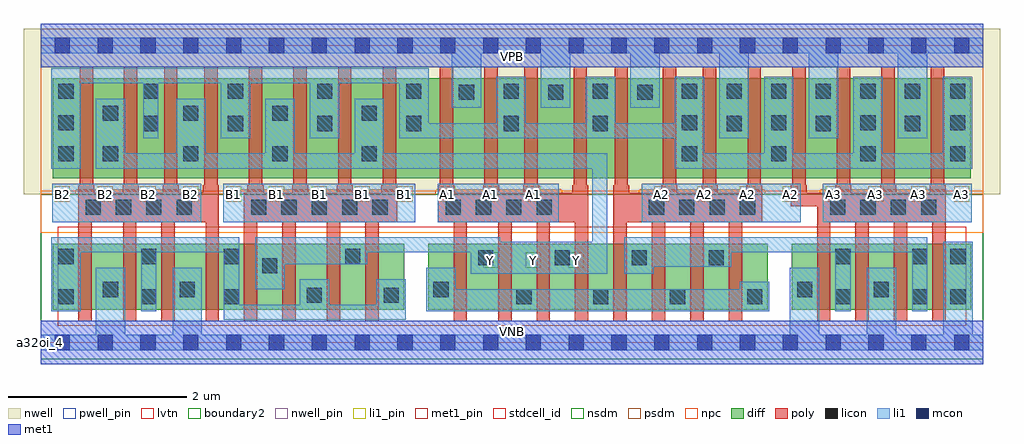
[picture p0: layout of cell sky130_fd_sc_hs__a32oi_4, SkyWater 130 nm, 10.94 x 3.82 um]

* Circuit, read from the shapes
.subckt sky130_fd_sc_hs__a32oi_4 A1 A2 A3 B1 B2 VGND VNB VPB VPWR Y
XM1 VGND B2 n1 VNB sky130_fd_pr__nfet_01v8_lvt w=0.74 l=0.15 m=4
XM2 Y B1 n1 VNB sky130_fd_pr__nfet_01v8_lvt w=0.74 l=0.15 m=4
XM3 Y A1 n2 VNB sky130_fd_pr__nfet_01v8_lvt w=0.74 l=0.15 m=4
XM4 n3 A2 n2 VNB sky130_fd_pr__nfet_01v8_lvt w=0.74 l=0.15 m=4
XM5 n3 A3 VGND VNB sky130_fd_pr__nfet_01v8_lvt w=0.74 l=0.15 m=4
XM6 Y B2 n4 VPB sky130_fd_pr__pfet_01v8 w=1.12 l=0.15 m=4
XM7 Y B1 n4 VPB sky130_fd_pr__pfet_01v8 w=1.12 l=0.15 m=4
XM8 VPWR A1 n4 VPB sky130_fd_pr__pfet_01v8 w=1.12 l=0.15 m=4
XM9 VPWR A2 n4 VPB sky130_fd_pr__pfet_01v8 w=1.12 l=0.15 m=4
XM10 VPWR A3 n4 VPB sky130_fd_pr__pfet_01v8 w=1.12 l=0.15 m=4
.ends

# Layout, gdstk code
import gdstk
lib = gdstk.Library(unit=1e-6, precision=1e-09)
def R(c, l, rs):  # rectangles x0, y0, x1, y1
    for r in rs: c.add(gdstk.rectangle(r[:2], r[2:], *l))
def A(c, l, x, y, w, h, nx, ny, dx, dy):  # array of equal rectangles
    R(c, l, [(x+i*dx, y+j*dy, x+i*dx+w, y+j*dy+h) for i in range(nx) for j in range(ny)])
def P(c, l, *ps):  # polygons
    for p in ps: c.add(gdstk.Polygon(p, *l))
nwell_pin = (64, 16)
nwell = (64, 20)
diff = (65, 20)
poly = (66, 20)
licon = (66, 44)
li1_pin = (67, 16)
li1 = (67, 20)
mcon = (67, 44)
met1_pin = (68, 16)
met1 = (68, 20)
stdcell_id = (81, 4)
nsdm = (93, 44)
psdm = (94, 20)
npc = (95, 20)
pwell_pin = (122, 16)
lvtn = (125, 44)
boundary2 = (236, 0)

sky130_fd_sc_hs__a32oi_4 = lib.new_cell('sky130_fd_sc_hs__a32oi_4')
R(sky130_fd_sc_hs__a32oi_4, nwell_pin, [(0,3.085,10.56,3.33)])
R(sky130_fd_sc_hs__a32oi_4, nwell, [(-0.19,1.66,10.75,3.52)])
R(sky130_fd_sc_hs__a32oi_4, diff, [(0.135,0.37,4.07,1.11), (4.34,0.37,8.145,1.11), (8.415,0.37,10.425,1.11), (0.135,1.84,10.42,2.96)])
P(sky130_fd_sc_hs__a32oi_4, poly, [(1.995,1.765),(1.98,1.765),(1.98,3.09),(1.83,3.09),(1.83,1.765),(1.815,1.765),(1.815,1.68),(1.545,1.68),(1.545,1.765),(1.53,1.765),(1.53,3.09),(1.38,3.09),(1.38,1.765),(1.365,1.765),(1.365,1.68),(1.095,1.68),(1.095,1.765),(1.08,1.765),(1.08,3.09),(0.93,3.09),(0.93,1.765),(0.915,1.765),(0.915,1.68),(0.6,1.68),(0.6,1.765),(0.585,1.765),(0.585,3.09),(0.435,3.09),(0.435,1.765),(0.42,1.765),(0.42,0.24),(0.57,0.24),(0.57,1.35),(0.92,1.35),(0.92,0.24),(1.07,0.24),(1.07,1.35),(1.35,1.35),(1.35,0.24),(1.5,0.24),(1.5,1.35),(1.845,1.35),(1.845,0.24),(1.995,0.24)],
  [(3.995,1.765),(3.98,1.765),(3.98,3.09),(3.83,3.09),(3.83,1.765),(3.815,1.765),(3.815,1.68),(3.495,1.68),(3.495,1.765),(3.48,1.765),(3.48,3.09),(3.33,3.09),(3.33,1.765),(3.315,1.765),(3.315,1.68),(2.995,1.68),(2.995,1.765),(2.98,1.765),(2.98,3.09),(2.83,3.09),(2.83,1.765),(2.815,1.765),(2.815,1.68),(2.495,1.68),(2.495,1.765),(2.48,1.765),(2.48,3.09),(2.33,3.09),(2.33,1.765),(2.315,1.765),(2.315,1.68),(2.275,1.68),(2.275,0.24),(2.425,0.24),(2.425,1.35),(2.705,1.35),(2.705,0.24),(2.855,0.24),(2.855,1.35),(3.205,1.35),(3.205,0.24),(3.355,0.24),(3.355,1.35),(3.635,1.35),(3.635,0.24),(3.785,0.24),(3.785,1.35),(3.995,1.35)],
  [(6.135,1.765),(6.12,1.765),(6.12,3.09),(5.97,3.09),(5.97,1.765),(5.955,1.765),(5.955,1.68),(5.585,1.68),(5.585,1.765),(5.57,1.765),(5.57,3.09),(5.42,3.09),(5.42,1.765),(5.405,1.765),(5.405,1.68),(5.135,1.68),(5.135,1.765),(5.12,1.765),(5.12,3.09),(4.97,3.09),(4.97,1.765),(4.955,1.765),(4.955,1.68),(4.635,1.68),(4.635,1.765),(4.62,1.765),(4.62,3.09),(4.47,3.09),(4.47,1.765),(4.455,1.765),(4.455,1.35),(4.625,1.35),(4.625,0.24),(4.775,0.24),(4.775,1.35),(5.125,1.35),(5.125,0.24),(5.275,0.24),(5.275,1.35),(5.555,1.35),(5.555,0.24),(5.705,0.24),(5.705,1.35),(5.985,1.35),(5.985,0.24),(6.135,0.24)],
  [(8.085,1.765),(8.07,1.765),(8.07,3.09),(7.92,3.09),(7.92,1.765),(7.905,1.765),(7.905,1.68),(7.585,1.68),(7.585,1.765),(7.57,1.765),(7.57,3.09),(7.42,3.09),(7.42,1.765),(7.405,1.765),(7.405,1.68),(7.135,1.68),(7.135,1.765),(7.12,1.765),(7.12,3.09),(6.97,3.09),(6.97,1.765),(6.955,1.765),(6.955,1.68),(6.595,1.68),(6.595,1.765),(6.58,1.765),(6.58,3.09),(6.43,3.09),(6.43,1.765),(6.415,1.765),(6.415,0.24),(6.565,0.24),(6.565,1.35),(6.845,1.35),(6.845,0.24),(6.995,0.24),(6.995,1.35),(7.28,1.35),(7.28,0.24),(7.43,0.24),(7.43,1.35),(7.71,1.35),(7.71,0.24),(7.86,0.24),(7.86,1.35),(8.085,1.35)],
  [(10.14,1.765),(10.125,1.765),(10.125,3.09),(9.975,3.09),(9.975,1.765),(9.96,1.765),(9.96,1.68),(9.585,1.68),(9.585,1.765),(9.57,1.765),(9.57,3.09),(9.42,3.09),(9.42,1.765),(9.405,1.765),(9.405,1.68),(9.085,1.68),(9.085,1.765),(9.07,1.765),(9.07,3.09),(8.92,3.09),(8.92,1.765),(8.905,1.765),(8.905,1.68),(8.585,1.68),(8.585,1.765),(8.57,1.765),(8.57,3.09),(8.42,3.09),(8.42,1.765),(8.405,1.765),(8.405,1.53),(8.7,1.53),(8.7,0.24),(8.85,0.24),(8.85,1.35),(9.13,1.35),(9.13,0.24),(9.28,0.24),(9.28,1.35),(9.56,1.35),(9.56,0.24),(9.71,0.24),(9.71,1.35),(9.99,1.35),(9.99,0.24),(10.14,0.24)])
A(sky130_fd_sc_hs__a32oi_4, licon, 5.33, 0.43, 0.17, 0.17, 3, 1, 0.86, 0)
A(sky130_fd_sc_hs__a32oi_4, licon, 4.9, 0.865, 0.17, 0.17, 3, 1, 0.86, 0)
A(sky130_fd_sc_hs__a32oi_4, licon, 0.5, 1.43, 0.17, 0.17, 4, 1, 0.34, 0)
A(sky130_fd_sc_hs__a32oi_4, licon, 2.355, 1.43, 0.17, 0.17, 5, 1, 0.34, 0)
A(sky130_fd_sc_hs__a32oi_4, licon, 4.535, 1.43, 0.17, 0.17, 4, 1, 0.34, 0)
A(sky130_fd_sc_hs__a32oi_4, licon, 6.815, 1.43, 0.17, 0.17, 4, 1, 0.34, 0)
A(sky130_fd_sc_hs__a32oi_4, licon, 8.845, 1.43, 0.17, 0.17, 4, 1, 0.34, 0)
A(sky130_fd_sc_hs__a32oi_4, licon, 1.595, 2.03, 0.17, 0.17, 3, 2, 1, 0.455)
A(sky130_fd_sc_hs__a32oi_4, licon, 7.185, 2.03, 0.17, 0.17, 3, 2, 1, 0.35)
A(sky130_fd_sc_hs__a32oi_4, licon, 10.19, 2.03, 0.17, 0.17, 1, 3, 0, 0.35)
A(sky130_fd_sc_hs__a32oi_4, licon, 2.095, 2.37, 0.17, 0.17, 3, 1, 1, 0)
A(sky130_fd_sc_hs__a32oi_4, licon, 7.685, 2.37, 0.17, 0.17, 3, 1, 1, 0)
A(sky130_fd_sc_hs__a32oi_4, licon, 4.685, 2.72, 0.17, 0.17, 3, 1, 1, 0)
A(sky130_fd_sc_hs__a32oi_4, licon, 0.195, 2.73, 0.17, 0.17, 3, 1, 0.95, 0)
A(sky130_fd_sc_hs__a32oi_4, licon, 5.185, 2.73, 0.17, 0.17, 3, 1, 1, 0)
A(sky130_fd_sc_hs__a32oi_4, licon, 7.685, 2.73, 0.17, 0.17, 5, 1, 0.5, 0)
R(sky130_fd_sc_hs__a32oi_4, licon, [(0.195,0.43,0.365,0.6), (1.125,0.43,1.295,0.6), (2.05,0.43,2.22,0.6), (7.915,0.43,8.085,0.6), (8.905,0.43,9.075,0.6), (9.765,0.43,9.935,0.6), (10.195,0.43,10.365,0.6), (2.98,0.445,3.15,0.615), (3.84,0.445,4.01,0.615), (0.695,0.51,0.865,0.68), (1.555,0.51,1.725,0.68), (4.4,0.51,4.57,0.68), (8.475,0.51,8.645,0.68), (9.335,0.51,9.505,0.68), (2.48,0.775,2.65,0.945), (7.485,0.865,7.655,1.035), (0.195,0.88,0.365,1.05), (1.125,0.88,1.295,1.05), (2.05,0.88,2.22,1.05), (3.41,0.88,3.58,1.05), (8.905,0.88,9.075,1.05), (9.765,0.88,9.935,1.05), (10.195,0.88,10.365,1.05), (0.195,2.03,0.365,2.2), (0.695,2.03,0.865,2.2), (1.145,2.37,1.315,2.54), (5.185,2.37,5.355,2.54), (6.185,2.37,6.355,2.54), (0.195,2.38,0.365,2.55), (0.695,2.485,0.865,2.655), (3.095,2.73,3.265,2.9), (4.095,2.73,4.265,2.9)])
A(sky130_fd_sc_hs__a32oi_4, li1_pin, 4.955, 0.84, 0.17, 0.17, 3, 1, 0.48, 0)
A(sky130_fd_sc_hs__a32oi_4, li1_pin, 0.155, 1.58, 0.17, 0.17, 12, 1, 0.48, 0)
A(sky130_fd_sc_hs__a32oi_4, li1_pin, 6.875, 1.58, 0.17, 0.17, 8, 1, 0.48, 0)
R(sky130_fd_sc_hs__a32oi_4, li1, [(0.125,1.35,1.795,1.78), (2.045,1.35,4.195,1.78), (4.445,1.35,5.805,1.78), (6.735,1.35,8.515,1.78), (8.765,1.35,10.435,1.78)])
P(sky130_fd_sc_hs__a32oi_4, li1, [(0,-0.085),(0,0.085),(0.615,0.085),(0.615,0.84),(0.945,0.84),(0.945,0.085),(1.475,0.085),(1.475,0.84),(1.805,0.84),(1.805,0.085),(8.395,0.085),(8.395,0.84),(8.725,0.84),(8.725,0.085),(9.255,0.085),(9.255,0.84),(9.585,0.84),(9.585,0.085),(10.115,0.085),(10.115,1.13),(10.445,1.13),(10.445,0.085),(10.56,0.085),(10.56,-0.085)],
  [(0,3.245),(0,3.415),(10.56,3.415),(10.56,3.245),(9.935,3.245),(9.935,2.29),(9.605,2.29),(9.605,3.245),(8.935,3.245),(8.935,2.29),(8.605,2.29),(8.605,3.245),(7.935,3.245),(7.935,2.29),(7.605,2.29),(7.605,3.245),(6.935,3.245),(6.935,2.63),(6.605,2.63),(6.605,3.245),(5.935,3.245),(5.935,2.63),(5.605,2.63),(5.605,3.245),(4.935,3.245),(4.935,2.63),(4.605,2.63),(4.605,3.245)],
  [(6.18,1.13),(6.18,1.95),(0.615,1.95),(0.615,2.735),(0.945,2.735),(0.945,2.12),(1.515,2.12),(1.515,2.735),(1.845,2.735),(1.845,2.12),(2.515,2.12),(2.515,2.735),(2.845,2.735),(2.845,2.12),(3.515,2.12),(3.515,2.735),(3.845,2.735),(3.845,2.12),(6.35,2.12),(6.35,0.77),(4.82,0.77),(4.82,1.01),(3.66,1.01),(3.66,0.88),(2.73,0.88),(2.73,0.595),(2.4,0.595),(2.4,1.18),(5.15,1.18),(5.15,1.13)],
  [(2.9,0.425),(2.9,0.71),(3.23,0.71),(3.23,0.425),(3.76,0.425),(3.76,0.71),(4.09,0.71),(4.09,0.255),(2.05,0.255),(2.05,1.01),(1.295,1.01),(1.295,0.35),(1.125,0.35),(1.125,1.01),(0.445,1.01),(0.445,0.35),(0.115,0.35),(0.115,1.18),(2.22,1.18),(2.22,0.425)],
  [(4.32,0.35),(4.32,0.84),(4.65,0.84),(4.65,0.6),(7.835,0.6),(7.835,0.68),(8.165,0.68),(8.165,0.35)],
  [(6.54,0.77),(6.54,1.18),(9.935,1.18),(9.935,0.35),(9.765,0.35),(9.765,1.01),(9.075,1.01),(9.075,0.35),(8.905,0.35),(8.905,1.01),(7.735,1.01),(7.735,0.85),(6.87,0.85),(6.87,0.77)],
  [(1.145,2.29),(1.145,2.905),(0.445,2.905),(0.445,1.95),(0.115,1.95),(0.115,3.075),(4.345,3.075),(4.345,2.46),(5.105,2.46),(5.105,2.98),(5.435,2.98),(5.435,2.46),(6.105,2.46),(6.105,2.98),(6.435,2.98),(6.435,2.46),(7.105,2.46),(7.105,2.98),(7.435,2.98),(7.435,2.12),(8.105,2.12),(8.105,2.98),(8.435,2.98),(8.435,2.12),(9.105,2.12),(9.105,2.98),(9.435,2.98),(9.435,2.12),(10.11,2.12),(10.11,2.98),(10.44,2.98),(10.44,1.95),(7.105,1.95),(7.105,2.29),(4.015,2.29),(4.015,2.905),(3.345,2.905),(3.345,2.29),(3.015,2.29),(3.015,2.905),(2.345,2.905),(2.345,2.29),(2.015,2.29),(2.015,2.905),(1.315,2.905),(1.315,2.29)])
A(sky130_fd_sc_hs__a32oi_4, mcon, 0.155, -0.085, 0.17, 0.17, 22, 2, 0.48, 3.33)
R(sky130_fd_sc_hs__a32oi_4, met1_pin, [(0,0,10.56,0.245), (0,3.085,10.56,3.33)])
R(sky130_fd_sc_hs__a32oi_4, met1, [(0,-0.245,10.56,0.245), (0,3.085,10.56,3.575)])
R(sky130_fd_sc_hs__a32oi_4, stdcell_id, [(0,0,10.56,3.33)])
R(sky130_fd_sc_hs__a32oi_4, nsdm, [(0,-0.19,10.56,1.66)])
P(sky130_fd_sc_hs__a32oi_4, psdm, [(10.56,3.52),(0,3.52),(0,1.66),(0.39,1.66),(0.39,1.71),(1.8,1.71),(1.8,1.66),(2.245,1.66),(2.245,1.71),(3.995,1.71),(3.995,1.66),(4.425,1.66),(4.425,1.71),(5.835,1.71),(5.835,1.66),(6.705,1.66),(6.705,1.71),(8.115,1.71),(8.115,1.66),(8.735,1.66),(8.735,1.71),(10.145,1.71),(10.145,1.66),(10.56,1.66)])
R(sky130_fd_sc_hs__a32oi_4, npc, [(0,1.23,10.56,1.7)])
R(sky130_fd_sc_hs__a32oi_4, pwell_pin, [(0,0,10.56,0.245)])
R(sky130_fd_sc_hs__a32oi_4, lvtn, [(0.19,0.19,10.37,1.3)])
R(sky130_fd_sc_hs__a32oi_4, boundary2, [(0,0,10.56,3.33)])
sky130_fd_sc_hs__a32oi_4.add(gdstk.Label('a32oi_4', (0,0), layer=83, texttype=44))
sky130_fd_sc_hs__a32oi_4.add(gdstk.Label('VNB', (5.28,0.123), layer=64, texttype=59))
sky130_fd_sc_hs__a32oi_4.add(gdstk.Label('VPB', (5.28,3.208), layer=64, texttype=5))
sky130_fd_sc_hs__a32oi_4.add(gdstk.Label('VPWR', (5.28,3.208), layer=68, texttype=5))
sky130_fd_sc_hs__a32oi_4.add(gdstk.Label('VGND', (5.28,0.123), layer=68, texttype=5))
sky130_fd_sc_hs__a32oi_4.add(gdstk.Label('B2', (0.24,1.665), layer=67, texttype=5))
sky130_fd_sc_hs__a32oi_4.add(gdstk.Label('B2', (0.72,1.665), layer=67, texttype=5))
sky130_fd_sc_hs__a32oi_4.add(gdstk.Label('B2', (1.2,1.665), layer=67, texttype=5))
sky130_fd_sc_hs__a32oi_4.add(gdstk.Label('B2', (1.68,1.665), layer=67, texttype=5))
sky130_fd_sc_hs__a32oi_4.add(gdstk.Label('B1', (2.16,1.665), layer=67, texttype=5))
sky130_fd_sc_hs__a32oi_4.add(gdstk.Label('B1', (2.64,1.665), layer=67, texttype=5))
sky130_fd_sc_hs__a32oi_4.add(gdstk.Label('B1', (3.12,1.665), layer=67, texttype=5))
sky130_fd_sc_hs__a32oi_4.add(gdstk.Label('B1', (3.6,1.665), layer=67, texttype=5))
sky130_fd_sc_hs__a32oi_4.add(gdstk.Label('B1', (4.08,1.665), layer=67, texttype=5))
sky130_fd_sc_hs__a32oi_4.add(gdstk.Label('A3', (8.88,1.665), layer=67, texttype=5))
sky130_fd_sc_hs__a32oi_4.add(gdstk.Label('A3', (9.36,1.665), layer=67, texttype=5))
sky130_fd_sc_hs__a32oi_4.add(gdstk.Label('A3', (9.84,1.665), layer=67, texttype=5))
sky130_fd_sc_hs__a32oi_4.add(gdstk.Label('A3', (10.32,1.665), layer=67, texttype=5))
sky130_fd_sc_hs__a32oi_4.add(gdstk.Label('A2', (6.96,1.665), layer=67, texttype=5))
sky130_fd_sc_hs__a32oi_4.add(gdstk.Label('A2', (7.44,1.665), layer=67, texttype=5))
sky130_fd_sc_hs__a32oi_4.add(gdstk.Label('A2', (7.92,1.665), layer=67, texttype=5))
sky130_fd_sc_hs__a32oi_4.add(gdstk.Label('A2', (8.4,1.665), layer=67, texttype=5))
sky130_fd_sc_hs__a32oi_4.add(gdstk.Label('A1', (4.56,1.665), layer=67, texttype=5))
sky130_fd_sc_hs__a32oi_4.add(gdstk.Label('A1', (5.04,1.665), layer=67, texttype=5))
sky130_fd_sc_hs__a32oi_4.add(gdstk.Label('A1', (5.52,1.665), layer=67, texttype=5))
sky130_fd_sc_hs__a32oi_4.add(gdstk.Label('Y', (5.04,0.925), layer=67, texttype=5))
sky130_fd_sc_hs__a32oi_4.add(gdstk.Label('Y', (5.52,0.925), layer=67, texttype=5))
sky130_fd_sc_hs__a32oi_4.add(gdstk.Label('Y', (6,0.925), layer=67, texttype=5))

lib.write_gds('sky130_fd_sc_hs__a32oi_4.gds')
